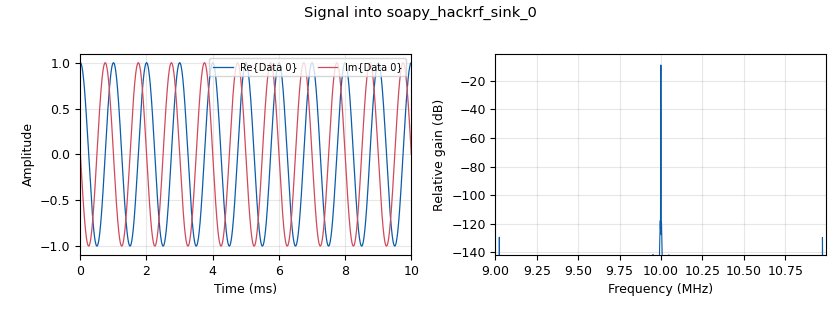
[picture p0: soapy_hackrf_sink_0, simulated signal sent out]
options:
  parameters:
    author: aminmahjoub
    generate_options: qt_gui
    id: cw_tx
    output_language: python
    title: Not titled yet
  states: {}

blocks:
- name: rfGain
  id: variable_qtgui_range
  parameters:
    label: RF Gain DB
    rangeType: int
    start: '0'
    step: '1'
    stop: '47'
    value: '0'
  states: {}
- name: samp_rate
  id: variable
  parameters:
    value: '32000'
  states: {}
- name: analog_sig_source_x_0
  id: analog_sig_source_x
  parameters:
    amp: '1'
    freq: '1000'
    offset: '0'
    phase: '0'
    samp_rate: 2e6
    type: complex
    waveform: analog.GR_COS_WAVE
  states: {}
- name: blocks_conjugate_cc_0
  id: blocks_conjugate_cc
  parameters: {}
  states: {}
- name: soapy_hackrf_sink_0
  id: soapy_hackrf_sink
  parameters:
    center_freq: 10e6
    samp_rate: 2e6
    type: fc32
    vga: rfGain
  states: {}

connections:
- [analog_sig_source_x_0, '0', blocks_conjugate_cc_0, '0']
- [blocks_conjugate_cc_0, '0', soapy_hackrf_sink_0, '0']

metadata:
  file_format: 1
  grc_version: 3.10.12.0
